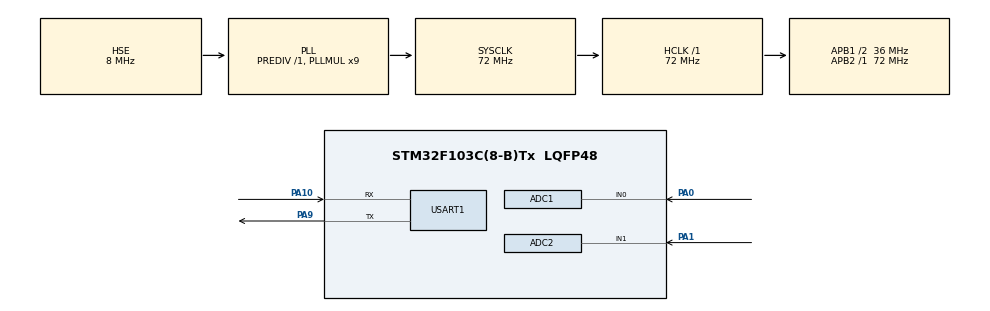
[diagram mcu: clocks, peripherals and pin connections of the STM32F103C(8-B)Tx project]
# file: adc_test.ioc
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ADC1.Channel-114\#ChannelRegularConversion=ADC_CHANNEL_0
ADC1.ContinuousConvMode=ENABLE
ADC1.Mode=ADC_DUALMODE_REGSIMULT
ADC1.NbrOfConversionFlag=1
ADC1.Rank-114\#ChannelRegularConversion=1
ADC1.SamplingTime-114\#ChannelRegularConversion=ADC_SAMPLETIME_1CYCLE_5
ADC1.master=1
ADC2.Channel-0\#ChannelRegularConversion=ADC_CHANNEL_1
ADC2.ContinuousConvMode=ENABLE
ADC2.Mode=ADC_DUALMODE_REGSIMULT
ADC2.NbrOfConversion=1
ADC2.NbrOfConversionFlag=1
ADC2.Rank-0\#ChannelRegularConversion=1
ADC2.SamplingTime-0\#ChannelRegularConversion=ADC_SAMPLETIME_1CYCLE_5
Dma.ADC1.0.Direction=DMA_PERIPH_TO_MEMORY
Dma.ADC1.0.Instance=DMA1_Channel1
Dma.ADC1.0.MemDataAlignment=DMA_MDATAALIGN_WORD
Dma.ADC1.0.MemInc=DMA_MINC_ENABLE
Dma.ADC1.0.Mode=DMA_NORMAL
Dma.ADC1.0.PeriphDataAlignment=DMA_PDATAALIGN_WORD
Dma.ADC1.0.PeriphInc=DMA_PINC_DISABLE
Dma.ADC1.0.Priority=DMA_PRIORITY_LOW
Dma.Request0=ADC1
Mcu.Family=STM32F1
Mcu.Name=STM32F103C(8-B)Tx
Mcu.Package=LQFP48
NVIC.DMA1_Channel1_IRQn=true\:0\:0\:false\:false\:true\:false\:true
NVIC.PriorityGroup=NVIC_PRIORITYGROUP_4
PA0-WKUP.Signal=ADCx_IN0
PA1.Signal=ADCx_IN1
PA10.Mode=Asynchronous
PA10.Signal=USART1_RX
PA13.Mode=Serial_Wire
PA13.Signal=SYS_JTMS-SWDIO
PA14.Mode=Serial_Wire
PA14.Signal=SYS_JTCK-SWCLK
PA9.Mode=Asynchronous
PA9.Signal=USART1_TX
PD0-OSC_IN.Mode=HSE-External-Oscillator
PD0-OSC_IN.Signal=RCC_OSC_IN
PD1-OSC_OUT.Mode=HSE-External-Oscillator
PD1-OSC_OUT.Signal=RCC_OSC_OUT
ProjectManager.HeapSize=0x200
ProjectManager.StackSize=0x400
ProjectManager.TargetToolchain=TrueSTUDIO
RCC.ADCPresc=RCC_ADCPCLK2_DIV6
RCC.AHBFreq_Value=72000000
RCC.APB1CLKDivider=RCC_HCLK_DIV2
RCC.APB1Freq_Value=36000000
RCC.APB1TimFreq_Value=72000000
RCC.APB2Freq_Value=72000000
RCC.APB2TimFreq_Value=72000000
RCC.HCLKFreq_Value=72000000
RCC.PLLMUL=RCC_PLL_MUL9
RCC.PLLSourceVirtual=RCC_PLLSOURCE_HSE
RCC.RCC_MCOSource=RCC_MCO1SOURCE_PLLCLK
RCC.SYSCLKFreq_VALUE=72000000
RCC.SYSCLKSource=RCC_SYSCLKSOURCE_PLLCLK
RCC.USBFreq_Value=72000000
SH.ADCx_IN0.0=ADC1_IN0,IN0
SH.ADCx_IN1.0=ADC2_IN1,IN1
USART1.VirtualMode=VM_ASYNC
board=custom

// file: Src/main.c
/* USER CODE BEGIN Header */
/**
  ******************************************************************************
  * @file           : main.c
  * @brief          : Main program body
  ******************************************************************************
  ** This notice applies to any and all portions of this file
  * that are not between comment pairs USER CODE BEGIN and
  * USER CODE END. Other portions of this file, whether
  * inserted by the user or by software development tools
  * are owned by their respective copyright owners.
  *
  * COPYRIGHT(c) 2019 STMicroelectronics
  *
  * Redistribution and use in source and binary forms, with or without modification,
  * are permitted provided that the following conditions are met:
  *   1. Redistributions of source code must retain the above copyright notice,
  *      this list of conditions and the following disclaimer.
  *   2. Redistributions in binary form must reproduce the above copyright notice,
  *      this list of conditions and the following disclaimer in the documentation
  *      and/or other materials provided with the distribution.
  *   3. Neither the name of STMicroelectronics nor the names of its contributors
  *      may be used to endorse or promote products derived from this software
  *      without specific prior written permission.
  *
  * THIS SOFTWARE IS PROVIDED BY THE COPYRIGHT HOLDERS AND CONTRIBUTORS "AS IS"
  * AND ANY EXPRESS OR IMPLIED WARRANTIES, INCLUDING, BUT NOT LIMITED TO, THE
  * IMPLIED WARRANTIES OF MERCHANTABILITY AND FITNESS FOR A PARTICULAR PURPOSE ARE
  * DISCLAIMED. IN NO EVENT SHALL THE COPYRIGHT HOLDER OR CONTRIBUTORS BE LIABLE
  * FOR ANY DIRECT, INDIRECT, INCIDENTAL, SPECIAL, EXEMPLARY, OR CONSEQUENTIAL
  * DAMAGES (INCLUDING, BUT NOT LIMITED TO, PROCUREMENT OF SUBSTITUTE GOODS OR
  * SERVICES; LOSS OF USE, DATA, OR PROFITS; OR BUSINESS INTERRUPTION) HOWEVER
  * CAUSED AND ON ANY THEORY OF LIABILITY, WHETHER IN CONTRACT, STRICT LIABILITY,
  * OR TORT (INCLUDING NEGLIGENCE OR OTHERWISE) ARISING IN ANY WAY OUT OF THE USE
  * OF THIS SOFTWARE, EVEN IF ADVISED OF THE POSSIBILITY OF SUCH DAMAGE.
  *
  ******************************************************************************
  */
/* USER CODE END Header */

#include "main.h"

/* USER CODE BEGIN Includes */
#include "string.h"
/* USER CODE END Includes */

ADC_HandleTypeDef hadc1;
ADC_HandleTypeDef hadc2;
DMA_HandleTypeDef hdma_adc1;

UART_HandleTypeDef huart1;

/* USER CODE BEGIN PV */
char trans_str[64] = {0,};
volatile uint16_t adc[8] = {0,}; // буфер - 8 шестнадцатибитных ячеек
/* USER CODE END PV */

void SystemClock_Config(void);
static void MX_GPIO_Init(void);
static void MX_DMA_Init(void);
static void MX_USART1_UART_Init(void);
static void MX_ADC1_Init(void);
static void MX_ADC2_Init(void);

/* USER CODE BEGIN 0 */

void HAL_ADC_ConvCpltCallback(ADC_HandleTypeDef* hadc)
{
    if(hadc->Instance == ADC1)
    {
		snprintf(trans_str, 63, "ADC %d %d %d %d %d %d %d %d\n", (uint16_t)adc[0], (uint16_t)adc[1], (uint16_t)adc[2], (uint16_t)adc[3], (uint16_t)adc[4], (uint16_t)adc[5], (uint16_t)adc[6], (uint16_t)adc[7]);
		HAL_UART_Transmit(&huart1, (uint8_t*)trans_str, strlen(trans_str), 1000);
		adc[0] = 0;
		adc[1] = 0;
		adc[2] = 0;
		adc[3] = 0;
		adc[4] = 0;
		adc[5] = 0;
		adc[6] = 0;
		adc[7] = 0;
		HAL_ADCEx_MultiModeStart_DMA(&hadc1, (uint32_t*)adc, 4); // DMA забирает данные 32-х битными словами, в первой половине значение первого канала, а во второй второго, поэтому указываем половину объявленного буфера
    }
}

void HAL_ADC_ConvHalfCpltCallback(ADC_HandleTypeDef* hadc)
{
	HAL_UART_Transmit(&huart1, (uint8_t*)"HALF\n", 5, 1000); // половинка буфера
}

/* USER CODE END 0 */

int main(void)
{

  /* MCU Configuration--------------------------------------------------------*/

  /* Reset of all peripherals, Initializes the Flash interface and the Systick. */
  HAL_Init();

  /* Configure the system clock */
  SystemClock_Config();

  /* Initialize all configured peripherals */
  MX_GPIO_Init();
  MX_DMA_Init();
  MX_USART1_UART_Init();
  MX_ADC1_Init();
  MX_ADC2_Init();
  /* USER CODE BEGIN 2 */
  HAL_ADCEx_Calibration_Start(&hadc1);
  HAL_ADCEx_Calibration_Start(&hadc2);
  HAL_ADC_Start(&hadc2);
  HAL_ADCEx_MultiModeStart_DMA(&hadc1, (uint32_t*)adc, 4); // DMA забирает данные 32-х битными словами, в первой половине значение первого канала, а во второй второго, поэтому указываем половину объявленного буфера
  /* USER CODE END 2 */

  /* Infinite loop */
  while (1)
  {

  }
}

void SystemClock_Config(void)
{
  RCC_OscInitTypeDef RCC_OscInitStruct = {0};
  RCC_ClkInitTypeDef RCC_ClkInitStruct = {0};
  RCC_PeriphCLKInitTypeDef PeriphClkInit = {0};

  /** Initializes the CPU, AHB and APB busses clocks
  */
  RCC_OscInitStruct.OscillatorType = RCC_OSCILLATORTYPE_HSE;
  RCC_OscInitStruct.HSEState = RCC_HSE_ON;
  RCC_OscInitStruct.HSEPredivValue = RCC_HSE_PREDIV_DIV1;
  RCC_OscInitStruct.HSIState = RCC_HSI_ON;
  RCC_OscInitStruct.PLL.PLLState = RCC_PLL_ON;
  RCC_OscInitStruct.PLL.PLLSource = RCC_PLLSOURCE_HSE;
  RCC_OscInitStruct.PLL.PLLMUL = RCC_PLL_MUL9;
  if (HAL_RCC_OscConfig(&RCC_OscInitStruct) != HAL_OK)
  {
    Error_Handler();
  }
  /** Initializes the CPU, AHB and APB busses clocks
  */
  RCC_ClkInitStruct.ClockType = RCC_CLOCKTYPE_HCLK|RCC_CLOCKTYPE_SYSCLK
                              |RCC_CLOCKTYPE_PCLK1|RCC_CLOCKTYPE_PCLK2;
  RCC_ClkInitStruct.SYSCLKSource = RCC_SYSCLKSOURCE_PLLCLK;
  RCC_ClkInitStruct.AHBCLKDivider = RCC_SYSCLK_DIV1;
  RCC_ClkInitStruct.APB1CLKDivider = RCC_HCLK_DIV2;
  RCC_ClkInitStruct.APB2CLKDivider = RCC_HCLK_DIV1;

  if (HAL_RCC_ClockConfig(&RCC_ClkInitStruct, FLASH_LATENCY_2) != HAL_OK)
  {
    Error_Handler();
  }
  PeriphClkInit.PeriphClockSelection = RCC_PERIPHCLK_ADC;
  PeriphClkInit.AdcClockSelection = RCC_ADCPCLK2_DIV6;
  if (HAL_RCCEx_PeriphCLKConfig(&PeriphClkInit) != HAL_OK)
  {
    Error_Handler();
  }
}

static void MX_ADC1_Init(void)
{

  ADC_MultiModeTypeDef multimode = {0};
  ADC_ChannelConfTypeDef sConfig = {0};

  /** Common config
  */
  hadc1.Instance = ADC1;
  hadc1.Init.ScanConvMode = ADC_SCAN_DISABLE;
  hadc1.Init.ContinuousConvMode = ENABLE;
  hadc1.Init.DiscontinuousConvMode = DISABLE;
  hadc1.Init.ExternalTrigConv = ADC_SOFTWARE_START;
  hadc1.Init.DataAlign = ADC_DATAALIGN_RIGHT;
  hadc1.Init.NbrOfConversion = 1;
  if (HAL_ADC_Init(&hadc1) != HAL_OK)
  {
    Error_Handler();
  }
  /** Configure the ADC multi-mode
  */
  multimode.Mode = ADC_DUALMODE_REGSIMULT;
  if (HAL_ADCEx_MultiModeConfigChannel(&hadc1, &multimode) != HAL_OK)
  {
    Error_Handler();
  }
  /** Configure Regular Channel
  */
  sConfig.Channel = ADC_CHANNEL_0;
  sConfig.Rank = ADC_REGULAR_RANK_1;
  sConfig.SamplingTime = ADC_SAMPLETIME_1CYCLE_5;
  if (HAL_ADC_ConfigChannel(&hadc1, &sConfig) != HAL_OK)
  {
    Error_Handler();
  }

}

static void MX_ADC2_Init(void)
{

  ADC_ChannelConfTypeDef sConfig = {0};

  /** Common config
  */
  hadc2.Instance = ADC2;
  hadc2.Init.ScanConvMode = ADC_SCAN_DISABLE;
  hadc2.Init.ContinuousConvMode = ENABLE;
  hadc2.Init.DiscontinuousConvMode = DISABLE;
  hadc2.Init.ExternalTrigConv = ADC_SOFTWARE_START;
  hadc2.Init.DataAlign = ADC_DATAALIGN_RIGHT;
  hadc2.Init.NbrOfConversion = 1;
  if (HAL_ADC_Init(&hadc2) != HAL_OK)
  {
    Error_Handler();
  }
  /** Configure Regular Channel
  */
  sConfig.Channel = ADC_CHANNEL_1;
  sConfig.Rank = ADC_REGULAR_RANK_1;
  sConfig.SamplingTime = ADC_SAMPLETIME_1CYCLE_5;
  if (HAL_ADC_ConfigChannel(&hadc2, &sConfig) != HAL_OK)
  {
    Error_Handler();
  }

}

static void MX_USART1_UART_Init(void)
{

  huart1.Instance = USART1;
  huart1.Init.BaudRate = 115200;
  huart1.Init.WordLength = UART_WORDLENGTH_8B;
  huart1.Init.StopBits = UART_STOPBITS_1;
  huart1.Init.Parity = UART_PARITY_NONE;
  huart1.Init.Mode = UART_MODE_TX_RX;
  huart1.Init.HwFlowCtl = UART_HWCONTROL_NONE;
  huart1.Init.OverSampling = UART_OVERSAMPLING_16;
  if (HAL_UART_Init(&huart1) != HAL_OK)
  {
    Error_Handler();
  }

}

static void MX_DMA_Init(void)
{
  /* DMA controller clock enable */
  __HAL_RCC_DMA1_CLK_ENABLE();

  /* DMA interrupt init */
  /* DMA1_Channel1_IRQn interrupt configuration */
  HAL_NVIC_SetPriority(DMA1_Channel1_IRQn, 0, 0);
  HAL_NVIC_EnableIRQ(DMA1_Channel1_IRQn);

}

static void MX_GPIO_Init(void)
{

  /* GPIO Ports Clock Enable */
  __HAL_RCC_GPIOD_CLK_ENABLE();
  __HAL_RCC_GPIOA_CLK_ENABLE();

}

void Error_Handler(void)
{
}

/************************ (C) COPYRIGHT STMicroelectronics *****END OF FILE****/
